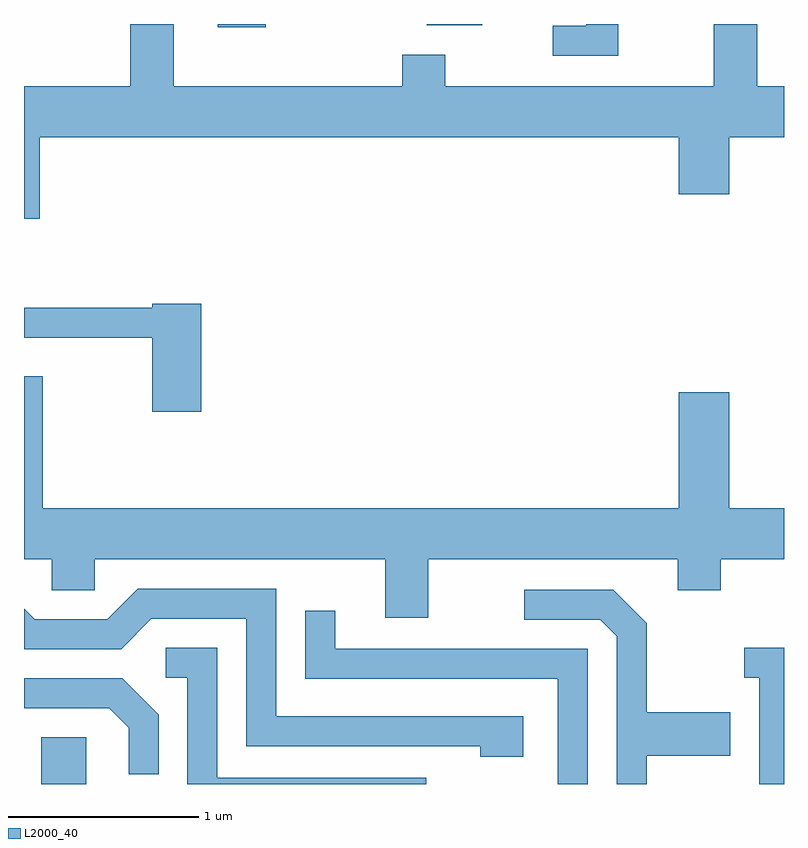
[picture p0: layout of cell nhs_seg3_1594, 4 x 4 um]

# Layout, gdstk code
import gdstk
lib = gdstk.Library(unit=1e-6, precision=1e-09)
def R(c, l, rs):  # rectangles x0, y0, x1, y1
    for r in rs: c.add(gdstk.rectangle(r[:2], r[2:], *l))
def P(c, l, *ps):  # polygons
    for p in ps: c.add(gdstk.Polygon(p, *l))
L2000_40 = (2000, 40)

nhs_seg3_1594 = lib.new_cell('nhs_seg3_1594')
R(nhs_seg3_1594, L2000_40, [(231.701,1175.892,231.939,1176.139), (232.631,1179.876,232.884,1179.892), (233.731,1179.886,234.024,1179.892)])
P(nhs_seg3_1594, L2000_40, [(231.694,1179.296),(235.056,1179.296),(235.056,1178.996),(235.324,1178.996),(235.324,1179.296),(235.611,1179.296),(235.611,1179.564),(235.469,1179.564),(235.469,1179.892),(235.241,1179.892),(235.241,1179.564),(233.829,1179.564),(233.829,1179.729),(233.601,1179.729),(233.601,1179.564),(232.399,1179.564),(232.399,1179.892),(232.171,1179.892),(232.171,1179.564),(231.611,1179.564),(231.611,1178.868),(231.694,1178.868)],
  [(234.739,1179.892),(234.571,1179.892),(234.571,1179.884),(234.393,1179.884),(234.393,1179.726),(234.739,1179.726)],
  [(232.544,1178.419),(232.286,1178.419),(232.286,1178.399),(231.611,1178.399),(231.611,1178.241),(232.286,1178.241),(232.286,1177.851),(232.544,1177.851)],
  [(233.739,1177.076),(235.051,1177.076),(235.051,1176.911),(235.279,1176.911),(235.279,1177.076),(235.611,1177.076),(235.611,1177.344),(235.324,1177.344),(235.324,1177.954),(235.056,1177.954),(235.056,1177.344),(231.709,1177.344),(231.709,1178.039),(231.611,1178.039),(231.611,1177.076),(231.756,1177.076),(231.756,1176.911),(231.984,1176.911),(231.984,1177.076),(233.511,1177.076),(233.511,1176.766),(233.739,1176.766)],
  [(234.239,1176.249),(232.939,1176.249),(232.939,1176.919),(232.209,1176.919),(232.049,1176.759),(231.667,1176.759),(231.611,1176.815),(231.611,1176.601),(232.122,1176.601),(232.282,1176.761),(232.781,1176.761),(232.781,1176.091),(234.011,1176.091),(234.011,1176.036),(234.239,1176.036)],
  [(234.889,1176.041),(235.329,1176.041),(235.329,1176.269),(234.889,1176.269),(234.889,1176.737),(234.712,1176.914),(234.243,1176.914),(234.243,1176.756),(234.644,1176.756),(234.731,1176.669),(234.731,1175.892),(234.889,1175.892)],
  [(234.579,1176.604),(233.249,1176.604),(233.249,1176.803),(233.091,1176.803),(233.091,1176.446),(234.421,1176.446),(234.421,1175.892),(234.579,1175.892)],
  [(233.728,1175.924),(232.629,1175.924),(232.629,1176.609),(232.358,1176.609),(232.358,1176.451),(232.471,1176.451),(232.471,1175.892),(233.728,1175.892)],
  [(235.611,1176.609),(235.403,1176.609),(235.403,1176.451),(235.481,1176.451),(235.481,1175.892),(235.611,1175.892)],
  [(232.319,1176.257),(232.127,1176.449),(231.611,1176.449),(231.611,1176.291),(232.059,1176.291),(232.161,1176.189),(232.161,1175.943),(232.319,1175.943)])

lib.write_gds('nhs_seg3_1594.gds')
